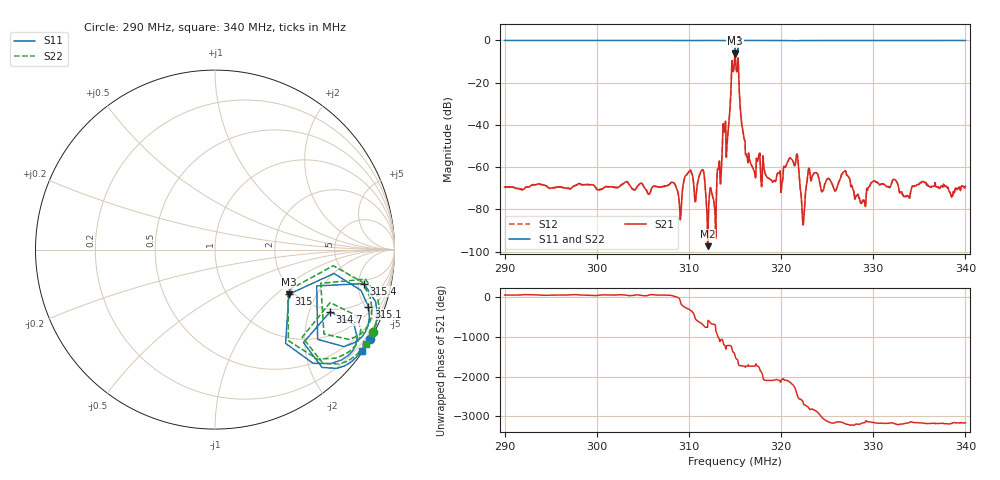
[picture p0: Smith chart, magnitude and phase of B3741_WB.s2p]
! Matrix data file written by TouchstoneData, EPCOS AG
! FILENAME: "B3741_WB.s2p"
! COMMENT: "PINNIG 1/4; PORTEX1 93PS; PORTEX2 179.5PS; 2"
! INFO: nport=2, nfreq=1601
! DATE: "Wed Sep 19 15:41:05 2012"
! USER: "Wilfried Schott"
! port | pin | signal
!  1  |  1  |  IN
!  2  |  4  |  OUT
# MHZ S MA R 50
! freq  magS11 angS11  magS21 angS21  magS12 angS12  magS22 angS22
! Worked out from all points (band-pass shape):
!   1601 points, 290 MHz to 340 MHz, reference 50 ohm
!   highest |S21| = -5.76 dB at 315 MHz (marker M1); lowest = -97.3 dB at 312 MHz (marker M2)
!   |S21| within 3 dB of the highest: 314.9473 MHz to 315.0519 MHz (104.6 kHz wide, 0.0332 % of centre); 315.3279 MHz to 315.3471 MHz (19.22 kHz wide, 0.00609 % of centre)
!   lowest |S11| = -6.4 dB at 315 MHz (marker M3), VSWR 2.85, Z = 94.2 - j60.9 ohm
!   |S11| at or under -10 dB: nowhere
!   |S22| runs from -6.7 to -0.1 dB; largest |S21 - S12| = 0.0021
!   S11 on the Smith chart (normalised r, x): 290 MHz: 0.03, -3.75; 314.7 MHz: 1.89, -2.79; 315 MHz: 1.88, -1.22; 315.1 MHz: 1.39, -5.21; 315.4 MHz: 4.26, -5.83; 340 MHz: 0.03, -3.21
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290  0.9959 -29.8  0.00034 60.6  0.0003359 61.4  0.9925 -27.7
298.3438  0.9954 -30.7  0.0003835 59.9  0.0003874 59.4  0.9919 -28.5
306.6875  0.9952 -31.8  0.0003397 58.5  0.0003387 59.1  0.9916 -29.5
309.0312  0.994 -32.2  6.907e-05 -66.2  7.59e-05 -67.2  0.9901 -29.9
309.8125  0.9932 -32.3  0.0006903 82.8  0.000687 83.3  0.9902 -30.1
311.4062  0.9939 -32.6  0.0008609 52.7  0.0008566 52.5  0.9895 -30.3
312.0312  0.9946 -32.9  1.357e-05 -34.9  1.549e-05 -37.8  0.991 -30.6
312.8125  0.9947 -33.4  9.707e-05 33.4  9.253e-05 34.0  0.991 -31.1
314.25  0.9915 -36.2  0.006968 -134.1  0.006928 -133.9  0.9876 -34.0
314.6875  0.7291 -28.4  0.3315 110.3  0.3302 110.4  0.7063 -24.7
315  0.4809 -31.1  0.5154 -31.6  0.5139 -31.5  0.4647 -29.5
315.0938  0.9116 -20.4  0.2548 -99.3  0.2536 -99.2  0.9078 -17.4
315.375  0.8507 -12.8  0.2321 108.6  0.2313 108.6  0.854 -11.1
316.1562  0.9942 -29.8  0.001982 54.6  0.001977 54.7  0.9909 -27.4
317  0.9948 -31.1  0.0008958 61.4  0.0008958 61.5  0.9914 -28.7
321.625  0.9814 -32.7  0.001651 152.5  0.001647 152.6  0.9788 -30.4
322.375  0.9912 -32.4  4.507e-05 -119.7  4.673e-05 -121.4  0.9874 -30.0
323.3438  0.9924 -32.5  0.0005651 57.9  0.0005678 58.5  0.9894 -30.1
326.9375  0.9935 -33.1  0.0008198 50.1  0.0008171 50.2  0.9902 -30.7
328.9062  0.9942 -33.3  0.000159 67.0  0.000161 66.8  0.9908 -30.9
331.6875  0.9937 -33.7  0.0003362 56.8  0.0003351 57.3  0.9907 -31.3
340  0.9946 -34.6  0.0003566 69.1  0.0003552 68.9  0.9912 -32.1
